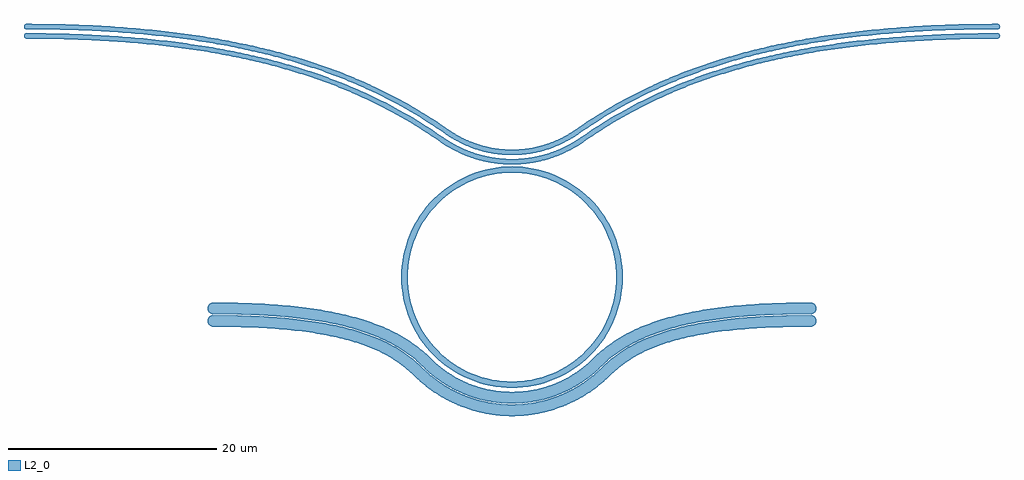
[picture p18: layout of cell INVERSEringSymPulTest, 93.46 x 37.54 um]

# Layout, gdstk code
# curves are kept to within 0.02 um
import gdstk
lib = gdstk.Library(unit=1e-6, precision=1e-09)
def P(c, l, *ps):  # polygons
    for p in ps: c.add(gdstk.Polygon(p, *l))
L2_0 = (2, 0)

inverseringsympultest = lib.new_cell('INVERSEringSymPulTest')
P(inverseringsympultest, L2_0, [(10,-30.6),(8.961,-30.549),(7.932,-30.396),(6.923,-30.144),(5.944,-29.793),(5.003,-29.348),(4.111,-28.814),(3.275,-28.194),(2.505,-27.495),(1.806,-26.725),(1.186,-25.889),(0.652,-24.997),(0.207,-24.056),(-0.144,-23.077),(-0.396,-22.068),(-0.549,-21.039),(-0.6,-20),(-0.549,-18.961),(-0.396,-17.932),(-0.144,-16.923),(0.207,-15.944),(0.652,-15.003),(1.186,-14.111),(1.806,-13.275),(2.505,-12.505),(3.275,-11.806),(4.111,-11.186),(5.003,-10.652),(5.944,-10.207),(6.923,-9.856),(7.932,-9.604),(8.961,-9.451),(10,-9.4),(11.039,-9.451),(12.068,-9.604),(13.077,-9.856),(14.056,-10.207),(14.997,-10.652),(15.889,-11.186),(16.725,-11.806),(17.495,-12.505),(18.194,-13.275),(18.814,-14.111),(19.348,-15.003),(19.793,-15.944),(20.144,-16.923),(20.396,-17.932),(20.549,-18.961),(20.6,-20),(20,-20),(19.988,-19.509),(19.892,-18.533),(19.808,-18.049),(19.569,-17.097),(19.239,-16.173),(19.04,-15.724),(18.577,-14.859),(18.032,-14.043),(17.41,-13.284),(16.716,-12.59),(16.344,-12.27),(15.556,-11.685),(15.141,-11.423),(14.276,-10.96),(13.827,-10.761),(12.903,-10.431),(12.43,-10.3),(11.951,-10.192),(10.98,-10.048),(10.491,-10.012),(9.509,-10.012),(8.533,-10.108),(8.049,-10.192),(7.097,-10.431),(6.631,-10.585),(6.173,-10.761),(5.286,-11.181),(4.444,-11.685),(4.043,-11.968),(3.284,-12.59),(2.929,-12.929),(2.59,-13.284),(1.968,-14.043),(1.423,-14.859),(0.96,-15.724),(0.761,-16.173),(0.431,-17.097),(0.192,-18.049),(0.108,-18.533),(0.012,-19.509),(0.012,-20.491),(0.048,-20.98),(0.192,-21.951),(0.431,-22.903),(0.761,-23.827),(0.96,-24.276),(1.181,-24.714),(1.685,-25.556),(2.27,-26.344),(2.59,-26.716),(3.284,-27.41),(4.043,-28.032),(4.444,-28.315),(5.286,-28.819),(6.173,-29.239),(7.097,-29.569),(7.57,-29.7),(8.533,-29.892),(9.509,-29.988),(10.491,-29.988),(10.98,-29.952),(11.951,-29.808),(12.903,-29.569),(13.369,-29.415),(14.276,-29.04),(14.714,-28.819),(15.556,-28.315),(15.957,-28.032),(16.716,-27.41),(17.41,-26.716),(18.032,-25.957),(18.577,-25.141),(19.04,-24.276),(19.239,-23.827),(19.569,-22.903),(19.7,-22.43),(19.892,-21.467),(19.952,-20.98),(20,-20),(20.6,-20),(20.549,-21.039),(20.396,-22.068),(20.144,-23.077),(19.793,-24.056),(19.348,-24.997),(18.814,-25.889),(18.194,-26.725),(17.495,-27.495),(16.725,-28.194),(15.889,-28.814),(14.997,-29.348),(14.056,-29.793),(13.077,-30.144),(12.068,-30.396),(11.039,-30.549)],
  [(-18.591,-24.741),(-18.805,-24.698),(-18.98,-24.58),(-19.098,-24.405),(-19.141,-24.191),(-19.098,-23.977),(-18.98,-23.802),(-18.805,-23.685),(-18.591,-23.641)],
  [(38.591,-24.741),(38.591,-23.641),(38.805,-23.685),(38.98,-23.802),(39.098,-23.977),(39.141,-24.191),(39.098,-24.405),(38.98,-24.58),(38.805,-24.698)],
  [(10,-33.3),(9.264,-33.28),(8.368,-33.2),(6.92,-32.939),(6.131,-32.725),(5.51,-32.519),(4.228,-31.982),(3.149,-31.4),(2.128,-30.72),(1.235,-30.003),(0.274,-29.097),(-0.236,-28.659),(-0.781,-28.247),(-1.361,-27.862),(-1.978,-27.502),(-2.858,-27.061),(-3.805,-26.662),(-4.561,-26.39),(-5.907,-25.987),(-7.4,-25.637),(-9.032,-25.344),(-10.425,-25.154),(-12.276,-24.97),(-14.252,-24.841),(-16.356,-24.766),(-18.591,-24.741),(-18.591,-23.641),(-16.316,-23.667),(-14.171,-23.744),(-12.154,-23.876),(-10.631,-24.024),(-9.187,-24.209),(-7.491,-24.497),(-6.22,-24.773),(-4.737,-25.178),(-3.633,-25.552),(-2.601,-25.971),(-1.872,-26.316),(-0.961,-26.818),(-0.322,-27.227),(0.472,-27.817),(1.025,-28.293),(1.96,-29.176),(2.84,-29.878),(3.715,-30.457),(4.773,-31.024),(5.952,-31.509),(7.248,-31.886),(8.578,-32.117),(9.925,-32.2),(11.198,-32.141),(11.868,-32.056),(12.606,-31.919),(13.906,-31.558),(14.54,-31.324),(15.227,-31.024),(16.285,-30.457),(17.16,-29.878),(18.04,-29.176),(18.975,-28.293),(19.528,-27.817),(20.322,-27.227),(20.961,-26.818),(21.872,-26.316),(22.852,-25.862),(23.903,-25.454),(25.025,-25.092),(26.22,-24.773),(27.821,-24.434),(29.187,-24.209),(31.005,-23.983),(32.547,-23.845),(34.59,-23.724),(36.76,-23.657),(38.591,-23.641),(38.591,-24.741),(36.356,-24.766),(34.252,-24.841),(32.276,-24.97),(30.425,-25.154),(29.032,-25.344),(27.4,-25.637),(25.907,-25.987),(24.561,-26.39),(23.805,-26.662),(22.858,-27.061),(21.978,-27.502),(21.361,-27.862),(20.781,-28.247),(20.236,-28.659),(19.726,-29.097),(18.765,-30.003),(17.872,-30.72),(16.851,-31.4),(15.772,-31.982),(14.49,-32.519),(13.869,-32.725),(13.08,-32.939),(11.632,-33.2),(10.736,-33.28)],
  [(38.591,-23.541),(38.591,-22.441),(38.805,-22.485),(38.98,-22.602),(39.098,-22.777),(39.141,-22.991),(39.098,-23.205),(38.98,-23.38),(38.805,-23.498)],
  [(10,-32.1),(8.663,-32.026),(7.343,-31.805),(6.694,-31.64),(5.915,-31.39),(4.682,-30.869),(3.703,-30.333),(2.778,-29.709),(1.97,-29.052),(1.078,-28.206),(0.523,-27.729),(-0.07,-27.281),(-0.7,-26.861),(-1.598,-26.345),(-2.317,-25.99),(-3.336,-25.558),(-4.426,-25.172),(-5.588,-24.83),(-7.145,-24.464),(-8.821,-24.163),(-10.617,-23.925),(-12.143,-23.777),(-14.164,-23.644),(-16.312,-23.567),(-18.648,-23.539),(-18.854,-23.475),(-19.047,-23.299),(-19.139,-23.048),(-19.117,-22.828),(-19.016,-22.641),(-18.899,-22.535),(-18.755,-22.466),(-18.591,-22.441),(-18.591,-23.541),(-18.591,-22.441),(-16.272,-22.467),(-12.831,-22.622),(-10.086,-22.88),(-8.627,-23.081),(-7.245,-23.322),(-5.939,-23.607),(-4.978,-23.857),(-3.762,-24.233),(-2.62,-24.66),(-1.551,-25.137),(-0.553,-25.667),(0.149,-26.099),(1.024,-26.723),(1.83,-27.403),(2.751,-28.274),(3.489,-28.866),(4.392,-29.463),(5.348,-29.968),(6.478,-30.421),(7.585,-30.732),(8.785,-30.933),(10.068,-31),(11.215,-30.933),(12.415,-30.732),(13.65,-30.377),(14.835,-29.881),(15.782,-29.358),(16.565,-28.826),(17.249,-28.274),(18.17,-27.403),(18.768,-26.888),(19.405,-26.404),(20.315,-25.808),(21.043,-25.395),(22.076,-24.892),(23.182,-24.44),(24.36,-24.039),(25.614,-23.687),(27.245,-23.322),(28.984,-23.026),(30.463,-22.836),(32.022,-22.684),(34.082,-22.547),(36.272,-22.467),(38.591,-22.441),(38.591,-23.541),(36.312,-23.567),(34.164,-23.644),(32.143,-23.777),(30.248,-23.968),(28.476,-24.218),(26.824,-24.532),(25.588,-24.83),(24.147,-25.264),(23.336,-25.558),(22.317,-25.99),(21.598,-26.345),(20.7,-26.861),(20.07,-27.281),(19.477,-27.729),(18.922,-28.206),(18.03,-29.052),(17.222,-29.709),(16.297,-30.333),(15.318,-30.869),(14.085,-31.39),(13.306,-31.64),(12.657,-31.805),(11.337,-32.026)],
  [(10,-9.2),(8.739,-9.134),(7.66,-8.97),(6.491,-8.676),(5.464,-8.31),(4.678,-7.956),(3.871,-7.517),(1.519,-5.958),(-0.593,-4.683),(-2.384,-3.717),(-3.79,-3.028),(-6.01,-2.052),(-8.373,-1.15),(-10.602,-0.415),(-12.96,0.254),(-15.455,0.854),(-17.757,1.32),(-20.175,1.728),(-22.715,2.076),(-25.773,2.398),(-29.004,2.635),(-32.856,2.797),(-36.507,2.845),(-36.601,2.874),(-36.689,2.954),(-36.73,3.068),(-36.72,3.168),(-36.621,3.301),(-36.481,3.344),(-32.395,3.284),(-28.547,3.108),(-24.928,2.821),(-21.893,2.476),(-18.675,1.991),(-15.979,1.478),(-13.121,0.812),(-10.728,0.145),(-8.466,-0.588),(-6.326,-1.385),(-4.055,-2.354),(-2.15,-3.275),(-0.343,-4.25),(1.789,-5.538),(4.079,-7.059),(4.851,-7.483),(5.653,-7.847),(6.796,-8.245),(7.812,-8.49),(8.846,-8.642),(10.055,-8.7),(11.154,-8.642),(12.188,-8.49),(13.363,-8.197),(14.449,-7.805),(15.149,-7.483),(15.921,-7.059),(18.211,-5.538),(20.343,-4.25),(22.15,-3.275),(24.055,-2.354),(26.326,-1.385),(28.466,-0.588),(30.728,0.145),(33.121,0.812),(35.652,1.408),(38.329,1.931),(41.161,2.377),(43.77,2.701),(46.911,2.994),(49.804,3.179),(53.282,3.307),(56.532,3.339),(56.689,3.233),(56.73,3.068),(56.658,2.917),(56.507,2.845),(52.856,2.797),(49.004,2.635),(45.381,2.362),(41.977,1.983),(39.823,1.673),(37.422,1.257),(34.818,0.711),(32.658,0.174),(30.602,-0.415),(28.103,-1.247),(26.01,-2.052),(23.79,-3.028),(22.384,-3.717),(20.593,-4.683),(18.481,-5.958),(16.129,-7.517),(15.322,-7.956),(14.536,-8.31),(13.509,-8.676),(12.34,-8.97),(11.261,-9.134)],
  [(10,-8.3),(8.833,-8.239),(7.836,-8.087),(6.754,-7.815),(5.706,-7.436),(4.935,-7.077),(4.285,-6.716),(1.99,-5.192),(-0.158,-3.895),(-1.514,-3.154),(-3.407,-2.213),(-5.662,-1.222),(-7.786,-0.405),(-10.03,0.349),(-12.404,1.037),(-14.913,1.655),(-17.227,2.135),(-20.013,2.613),(-22.581,2.966),(-26.07,3.327),(-29.356,3.556),(-32.824,3.696),(-36.507,3.745),(-36.601,3.774),(-36.689,3.854),(-36.73,3.968),(-36.72,4.068),(-36.621,4.201),(-36.481,4.244),(-31.915,4.169),(-28.057,3.978),(-24.426,3.675),(-21.379,3.315),(-18.496,2.873),(-15.437,2.282),(-12.874,1.677),(-10.449,1.001),(-7.877,0.159),(-5.721,-0.658),(-3.679,-1.536),(-1.744,-2.472),(0.093,-3.463),(2.262,-4.772),(4.456,-6.235),(5.073,-6.586),(5.899,-6.975),(6.901,-7.337),(7.933,-7.597),(8.936,-7.747),(10.101,-7.8),(11.064,-7.747),(12.116,-7.587),(13.148,-7.322),(14.101,-6.975),(14.927,-6.586),(15.544,-6.235),(17.738,-4.772),(19.907,-3.463),(21.744,-2.472),(23.679,-1.536),(25.721,-0.658),(27.877,0.159),(30.449,1.001),(32.874,1.677),(35.437,2.282),(38.147,2.812),(41.01,3.264),(43.648,3.593),(46.416,3.857),(49.743,4.077),(53.253,4.207),(56.532,4.239),(56.689,4.133),(56.73,3.968),(56.658,3.817),(56.507,3.745),(52.38,3.684),(48.935,3.532),(45.276,3.256),(41.835,2.871),(39.302,2.501),(36.89,2.07),(34.913,1.655),(32.404,1.037),(30.03,0.349),(27.786,-0.405),(25.662,-1.222),(23.407,-2.213),(21.514,-3.154),(20.158,-3.895),(18.01,-5.192),(15.715,-6.716),(15.065,-7.077),(14.294,-7.436),(13.246,-7.815),(12.164,-8.087),(11.167,-8.239)])

lib.write_gds('INVERSEringSymPulTest.gds')
